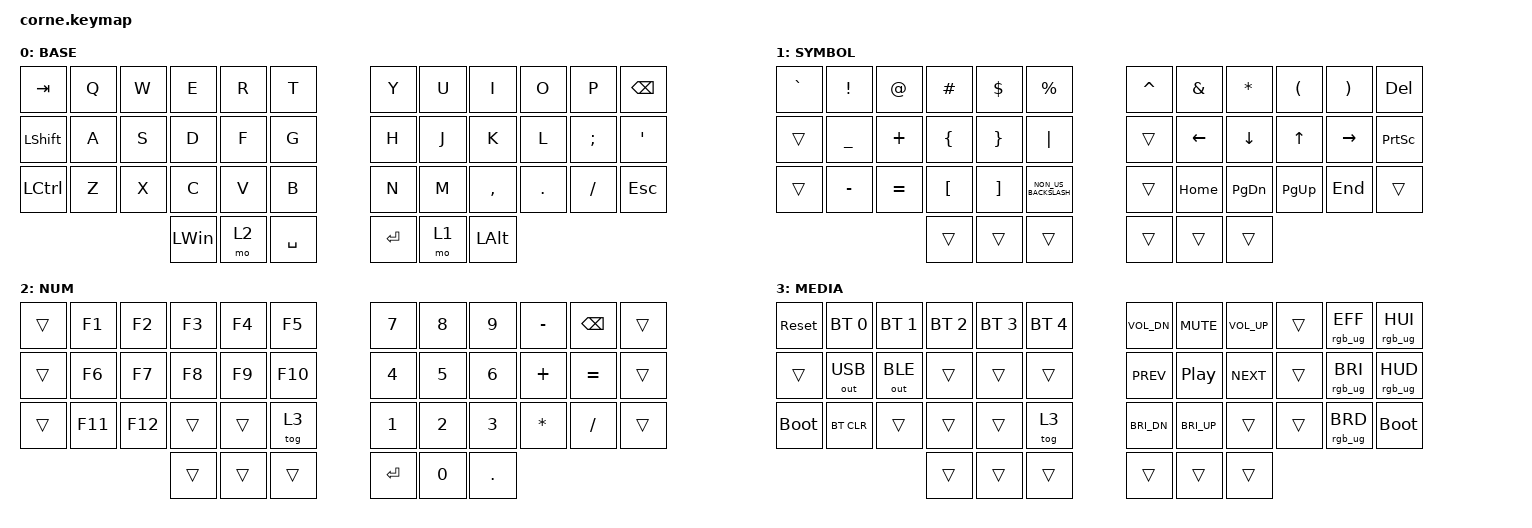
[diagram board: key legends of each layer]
/*
 * Copyright (c) 2020 The ZMK Contributors
 *
 * SPDX-License-Identifier: MIT
 */

#include <dt-bindings/led/led.h>
#include <dt-bindings/zmk/reset.h>
#include <behaviors.dtsi>
#include <dt-bindings/zmk/bt.h>
#include <dt-bindings/zmk/keys.h>
#include <dt-bindings/zmk/outputs.h>
#include <dt-bindings/zmk/rgb.h>

&led_strip { chain-length = <27>; };

/ {
    /*
     * ── Behavior definitions ──────────────────────────────
     */
    /*
     * ── Combos ────────────────────────────────────────────
     * Placed on inner-index columns to keep them accidental-free
     */

    combos {
        compatible = "zmk,combos";

        /* Left FJ = Caps Word (handy for SCREAMING_CONSTANTS) */

        combo_caps_word {
            timeout-ms = <50>;
            key-positions = <16 19>;   /* F + J */
            bindings = <&caps_word>;
        };

        /* Left ZX together = Undo */

        combo_undo {
            timeout-ms = <40>;
            key-positions = <25 26>;   /* Z + X */
            bindings = <&kp LC(Z)>;
        };
    };

    /*
     * ── Keymap ───────────────────────────────────────────
     *
     * Physical layout reference (42-key Corne):
     *
     *  ┌───┬───┬───┬───┬───┬───┐           ┌───┬───┬───┬───┬───┬───┐
     *  │ 0 │ 1 │ 2 │ 3 │ 4 │ 5 │           │ 6 │ 7 │ 8 │ 9 │10 │11 │
     *  ├───┼───┼───┼───┼───┼───┤           ├───┼───┼───┼───┼───┼───┤
     *  │12 │13 │14 │15 │16 │17 │           │18 │19 │20 │21 │22 │23 │
     *  ├───┼───┼───┼───┼───┼───┤           ├───┼───┼───┼───┼───┼───┤
     *  │24 │25 │26 │27 │28 │29 │           │30 │31 │32 │33 │34 │35 │
     *  └───┴───┴───┴───┴───┴───┘           └───┴───┴───┴───┴───┴───┘
     *                  ┌───┬───┬───┐   ┌───┬───┬───┐
     *                  │36 │37 │38 │   │39 │40 │41 │
     *                  └───┴───┴───┘   └───┴───┴───┘
     */

    keymap {
        compatible = "zmk,keymap";

        base_layer {
            bindings = <
&kp TAB     &kp Q  &kp W  &kp E         &kp R  &kp T        &kp Y      &kp U  &kp I         &kp O    &kp P          &kp BSPC
&kp LSHIFT  &kp A  &kp S  &kp D         &kp F  &kp G        &kp H      &kp J  &kp K         &kp L    &kp SEMICOLON  &kp SQT
&kp LCTRL   &kp Z  &kp X  &kp C         &kp V  &kp B        &kp N      &kp M  &kp COMMA     &kp DOT  &kp FSLH       &kp ESC
                          &kp LEFT_WIN  &mo 2  &kp SPACE    &kp ENTER  &mo 1  &kp LEFT_ALT
            >;

            label = "BASE";
        };

        //         base_layer {
        //             bindings = <
        // &kp TAB     &kp Q  &kp D  &kp R         &kp W  &kp B        &kp J      &kp F  &kp U         &kp P    &kp SEMICOLON  &kp BSPC
        // &kp LSHIFT  &kp A  &kp S  &kp H         &kp T  &kp G        &kp Y      &kp N  &kp E         &kp O    &kp I          &kp SQT
        // &kp LCTRL   &kp Z  &kp X  &kp M         &kp C  &kp V        &kp K      &kp L  &kp COMMA     &kp DOT  &kp FSLH       &kp ESC
        //                           &kp LEFT_WIN  &mo 2  &kp SPACE    &kp ENTER  &mo 1  &kp LEFT_ALT
        //             >;
        //             label = "BASE";
        //         };

        symbol_layer {
            bindings = <
&kp GRAVE  &kp EXCL        &kp AT     &kp HASH          &kp DLLR           &kp PRCNT               &kp CARET  &kp AMPS        &kp STAR        &kp LPAR      &kp RPAR         &kp DELETE
&trans     &kp UNDERSCORE  &kp PLUS   &kp LEFT_BRACE    &kp RIGHT_BRACE    &kp PIPE                &trans     &kp LEFT_ARROW  &kp DOWN_ARROW  &kp UP_ARROW  &kp RIGHT_ARROW  &kp PRINTSCREEN
&trans     &kp MINUS       &kp EQUAL  &kp LEFT_BRACKET  &kp RIGHT_BRACKET  &kp NON_US_BACKSLASH    &trans     &kp HOME        &kp PAGE_DOWN   &kp PAGE_UP   &kp END          &trans
                                      &trans            &trans             &trans                  &trans     &trans          &trans
            >;

            label = "SYMBOL";
        };

        num_layer {
            bindings = <
&trans  &kp F1   &kp F2   &kp F3  &kp F4  &kp F5     &kp N7   &kp N8  &kp N9   &kp MINUS  &kp BSPC   &trans
&trans  &kp F6   &kp F7   &kp F8  &kp F9  &kp F10    &kp N4   &kp N5  &kp N6   &kp PLUS   &kp EQUAL  &trans
&trans  &kp F11  &kp F12  &trans  &trans  &tog 3     &kp N1   &kp N2  &kp N3   &kp ASTRK  &kp FSLH   &trans
                          &trans  &trans  &trans     &kp RET  &kp N0  &kp DOT
            >;

            label = "NUM";
        };

        media_layer {
            bindings = <
&sys_reset   &bt BT_SEL 0  &bt BT_SEL 1  &bt BT_SEL 2  &bt BT_SEL 3  &bt BT_SEL 4    &kp C_VOL_DN  &kp C_MUTE    &kp C_VOL_UP  &trans  &rgb_ug RGB_EFF  &rgb_ug RGB_HUI
&trans       &out OUT_USB  &out OUT_BLE  &trans        &trans        &trans          &kp C_PREV    &kp C_PP      &kp C_NEXT    &trans  &rgb_ug RGB_BRI  &rgb_ug RGB_HUD
&bootloader  &bt BT_CLR    &trans        &trans        &trans        &tog 3          &kp C_BRI_DN  &kp C_BRI_UP  &trans        &trans  &rgb_ug RGB_BRD  &bootloader
                                         &trans        &trans        &trans          &trans        &trans        &trans
            >;

            label = "MEDIA";
        };
    };
};
